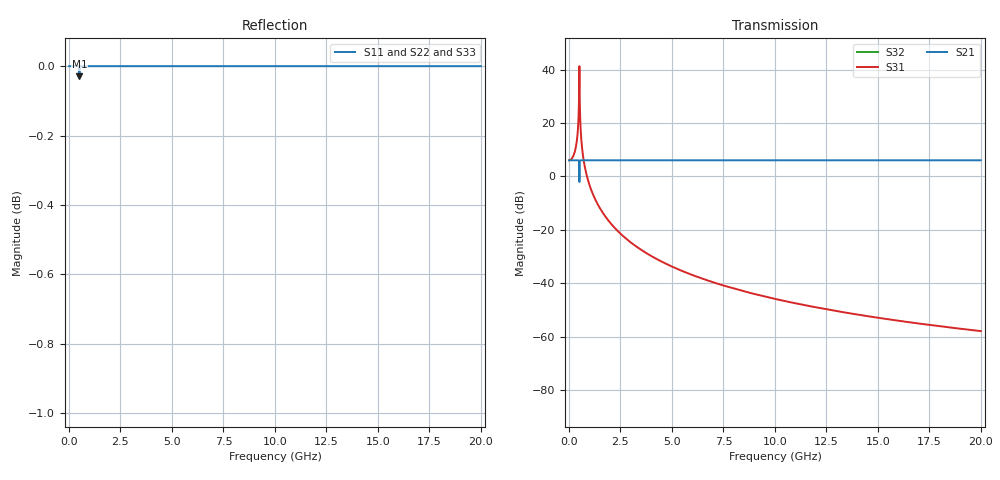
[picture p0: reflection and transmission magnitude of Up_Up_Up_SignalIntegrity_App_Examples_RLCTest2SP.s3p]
! File created by SignalIntegrity v1.1.4: Signal and Power Integrity Tools
! https://github.com/TeledyneLeCroy/SignalIntegrity
# MHz MA S R 50.0
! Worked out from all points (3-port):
!   4000 points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, 5 MHz to 20 GHz, reference 50 ohm
!   strongest paths, dB at 5 MHz, 5.005 GHz, 10.01 GHz, 15.01 GHz, 20 GHz:
!     S21: 6.0, 6.0, 6.0, 6.0, 6.0
!     S31: 6.0, -33.8, -45.9, -52.9, -57.9
!     S32: -, -, -, -, -
!   lowest |S11| = 0.0 dB at 505 MHz (marker M1), VSWR 595.84, Z = 0.0993 + j21.4 ohm
!   |S11| at or under -10 dB: nowhere
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5  1 -0.0  0 0.0  0 0.0
   2 -0.0  1 180.0  0 0.0
   2 -0.0  0 0.0  1 180.0
320  1 -1.9  0 0.0  0 0.0
     2 -1.0  1 180.0  0 0.0
     3.357 -1.0  0 0.0  1 180.0
400  1 -3.9  0 0.0  0 0.0
     1.999 -2.0  1 180.0  0 0.0
     5.427 -2.0  0 0.0  1 180.0
415  1 -4.7  0 0.0  0 0.0
     1.998 -2.3  1 180.0  0 0.0
     6.243 -2.3  0 0.0  1 180.0
505  0.9966 133.6  0 0.0  0 0.0
     0.7864 66.6  1 180.0  0 0.0
     115.7 -113.2  0 0.0  1 180.0
605  1 4.9  0 0.0  0 0.0
     1.998 2.4  1 180.0  0 0.0
     4.49 -177.5  0 0.0  1 180.0
705  1 2.6  0 0.0  0 0.0
     1.999 1.3  1 180.0  0 0.0
     2.078 -178.7  0 0.0  1 180.0
1165  1 1.0  0 0.0  0 0.0
      2 0.5  1 180.0  0 0.0
      0.4589 -179.5  0 0.0  1 180.0
10005  1 0.1  0 0.0  0 0.0
       2 0.0  1 180.0  0 0.0
       0.005074 -180.0  0 0.0  1 180.0
20000  1 0.0  0 0.0  0 0.0
       2 0.0  1 180.0  0 0.0
       0.001267 -180.0  0 0.0  1 180.0
